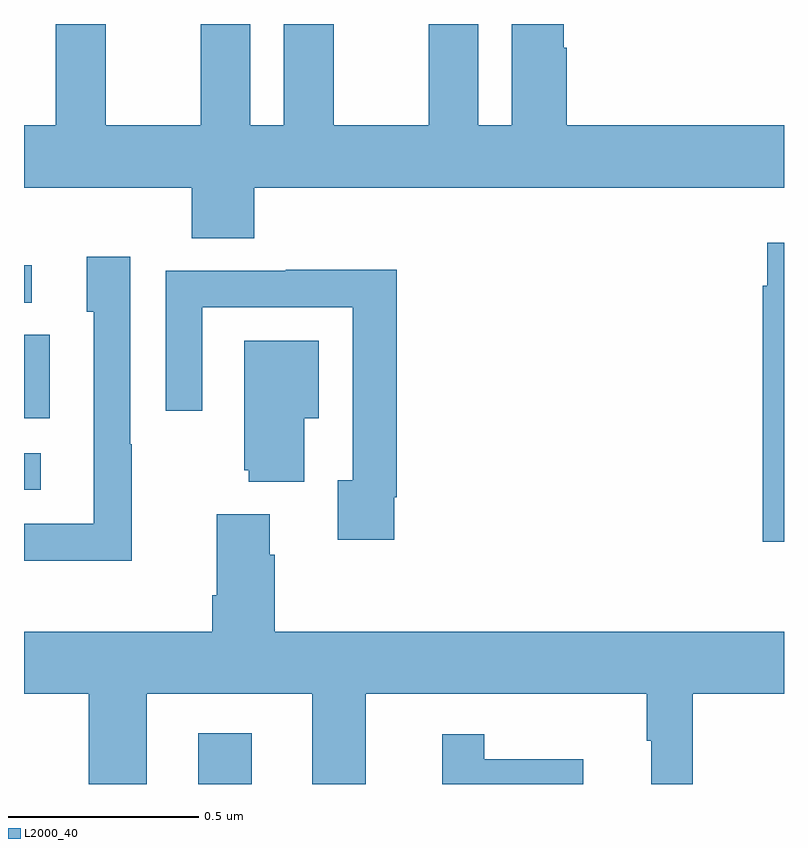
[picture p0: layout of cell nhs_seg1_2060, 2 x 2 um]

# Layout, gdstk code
import gdstk
lib = gdstk.Library(unit=1e-6, precision=1e-09)
def R(c, l, rs):  # rectangles x0, y0, x1, y1
    for r in rs: c.add(gdstk.rectangle(r[:2], r[2:], *l))
def P(c, l, *ps):  # polygons
    for p in ps: c.add(gdstk.Polygon(p, *l))
L2000_40 = (2000, 40)

nhs_seg1_2060 = lib.new_cell('nhs_seg1_2060')
R(nhs_seg1_2060, L2000_40, [(137.459,514.199,137.599,514.333), (137,514.974,137.044,515.07), (137,515.162,137.068,515.381), (137,515.466,137.02,515.564)])
P(nhs_seg1_2060, L2000_40, [(138.284,516.199),(138.284,515.932),(138.196,515.932),(138.196,516.199),(138.065,516.199),(138.065,515.932),(137.815,515.932),(137.815,516.199),(137.684,516.199),(137.684,515.932),(137.596,515.932),(137.596,516.199),(137.465,516.199),(137.465,515.932),(137.215,515.932),(137.215,516.199),(137.084,516.199),(137.084,515.932),(137,515.932),(137,515.768),(137.441,515.768),(137.441,515.635),(137.606,515.635),(137.606,515.768),(139,515.768),(139,515.932),(138.428,515.932),(138.428,516.137),(138.421,516.137),(138.421,516.199)],
  [(139,515.623),(138.956,515.623),(138.956,515.51),(138.944,515.51),(138.944,514.836),(139,514.836)],
  [(137.283,515.093),(137.28,515.093),(137.28,515.587),(137.165,515.587),(137.165,515.442),(137.184,515.442),(137.184,514.884),(137,514.884),(137,514.787),(137.283,514.787)],
  [(137.974,514.954),(137.981,514.954),(137.981,515.552),(137.689,515.552),(137.689,515.55),(137.373,515.55),(137.373,515.181),(137.469,515.181),(137.469,515.454),(137.865,515.454),(137.865,514.998),(137.825,514.998),(137.825,514.842),(137.974,514.842)],
  [(137.737,515.162),(137.776,515.162),(137.776,515.365),(137.579,515.365),(137.579,515.025),(137.591,515.025),(137.591,514.994),(137.737,514.994)],
  [(137.323,514.436),(137.759,514.436),(137.759,514.199),(137.899,514.199),(137.899,514.436),(138.639,514.436),(138.639,514.313),(138.65,514.313),(138.65,514.199),(138.76,514.199),(138.76,514.436),(139,514.436),(139,514.6),(137.66,514.6),(137.66,514.802),(137.647,514.802),(137.647,514.909),(137.507,514.909),(137.507,514.696),(137.495,514.696),(137.495,514.6),(137,514.6),(137,514.436),(137.171,514.436),(137.171,514.199),(137.323,514.199)],
  [(138.472,514.264),(138.211,514.264),(138.211,514.33),(138.101,514.33),(138.101,514.199),(138.472,514.199)])

lib.write_gds('nhs_seg1_2060.gds')
